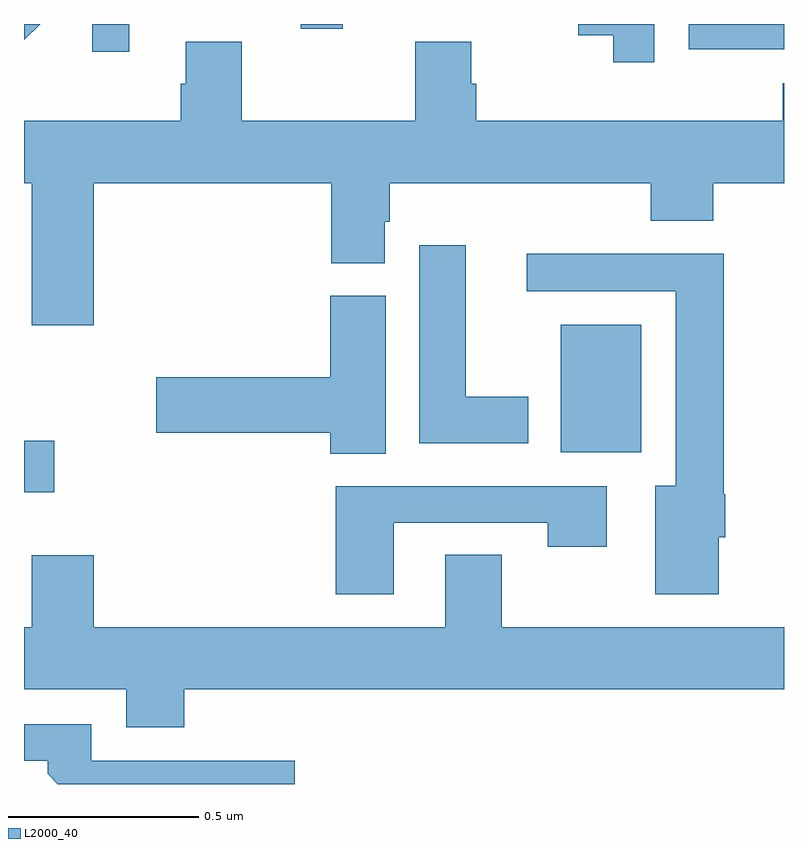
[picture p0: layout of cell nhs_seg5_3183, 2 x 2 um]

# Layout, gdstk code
import gdstk
lib = gdstk.Library(unit=1e-6, precision=1e-09)
def R(c, l, rs):  # rectangles x0, y0, x1, y1
    for r in rs: c.add(gdstk.rectangle(r[:2], r[2:], *l))
def P(c, l, *ps):  # polygons
    for p in ps: c.add(gdstk.Polygon(p, *l))
L2000_40 = (2000, 40)

nhs_seg5_3183 = lib.new_cell('nhs_seg5_3183')
R(nhs_seg5_3183, L2000_40, [(153,902.567,153.079,902.702), (154.412,902.672,154.624,903.007), (153.18,903.726,153.277,903.799), (154.749,903.732,155,903.799), (153.728,903.786,153.839,903.799)])
P(nhs_seg5_3183, L2000_40, [(154.659,903.799),(154.458,903.799),(154.458,903.769),(154.551,903.769),(154.551,903.699),(154.659,903.699)],
  [(153.043,903.799),(153,903.799),(153,903.757)],
  [(153.184,903.38),(153.809,903.38),(153.809,903.169),(153.949,903.169),(153.949,903.279),(153.962,903.279),(153.962,903.38),(154.649,903.38),(154.649,903.281),(154.814,903.281),(154.814,903.38),(155,903.38),(155,903.643),(154.997,903.643),(154.997,903.544),(154.19,903.544),(154.19,903.642),(154.177,903.642),(154.177,903.752),(154.03,903.752),(154.03,903.544),(153.573,903.544),(153.573,903.752),(153.425,903.752),(153.425,903.642),(153.413,903.642),(153.413,903.544),(153,903.544),(153,903.38),(153.02,903.38),(153.02,903.006),(153.184,903.006)],
  [(154.327,902.818),(154.162,902.818),(154.162,903.217),(154.04,903.217),(154.04,902.696),(154.327,902.696)],
  [(154.828,902.448),(154.846,902.448),(154.846,902.562),(154.841,902.562),(154.841,903.194),(154.323,903.194),(154.323,903.096),(154.715,903.096),(154.715,902.584),(154.661,902.584),(154.661,902.298),(154.828,902.298)],
  [(153.952,903.084),(153.806,903.084),(153.806,902.87),(153.348,902.87),(153.348,902.723),(153.806,902.723),(153.806,902.668),(153.952,902.668)],
  [(153.973,902.487),(154.378,902.487),(154.378,902.424),(154.534,902.424),(154.534,902.583),(153.821,902.583),(153.821,902.298),(153.973,902.298)],
  [(153.422,902.048),(155,902.048),(155,902.212),(154.257,902.212),(154.257,902.402),(154.109,902.402),(154.109,902.212),(153.184,902.212),(153.184,902.401),(153.02,902.401),(153.02,902.212),(153,902.212),(153,902.048),(153.269,902.048),(153.269,901.949),(153.422,901.949)],
  [(153.712,901.86),(153.177,901.86),(153.177,901.956),(153,901.956),(153,901.86),(153.062,901.86),(153.062,901.826),(153.089,901.799),(153.712,901.799)])

lib.write_gds('nhs_seg5_3183.gds')
